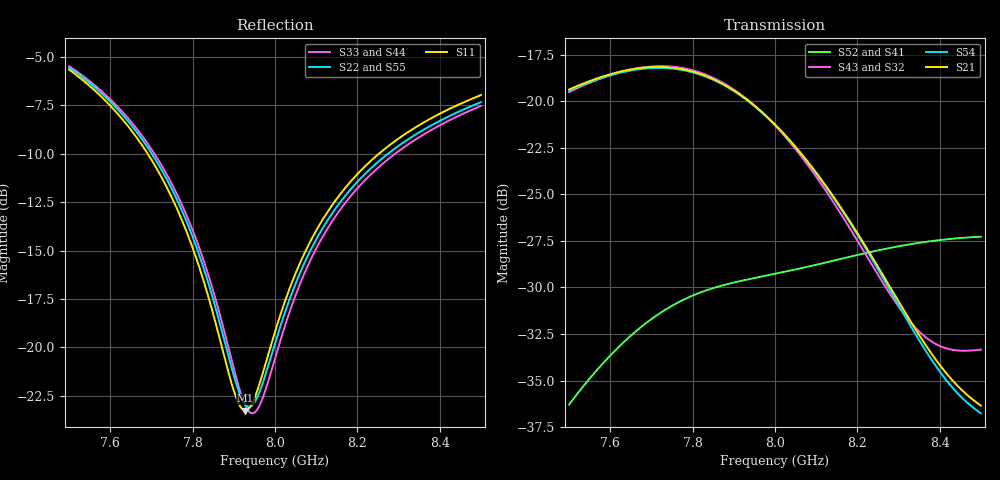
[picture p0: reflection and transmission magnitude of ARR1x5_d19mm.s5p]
! Touchstone file exported from HFSS 2025.1.0
!  File:  C:/Users/user/Documents/Ansoft/TFG_UWB-MIMO-Array.aedt
!  Generated:  06:37:37 PM Nov 20, 2026
!  Design:  ARR1x5_P01_MS2_dparam
!  Project:  TFG_UWB-MIMO-Array
!  Setup:  Setup_ch9
!  Solution:  Sweep_7p5_8p5
! Variables:
!  arr_d = 19mm
!  board_m = 13mm
!  board_x = 102mm
!  board_y = 26mm
!  cu_t = 0.035mm
!  line_w = 3.92mm
!  pad_xy = 22mm
!  pad_zn = 25mm
!  pad_zp = 33mm
!  patch_L = 7.322mm
!  patch_W = 11.421266mm
!  sub_h = 2.07mm
!  tr_l = 7.1mm
!  tr_w = 0.8mm
# GHz S MA R 50.000000
! Terminal data exported
! Port[1] = P1
! Port[2] = P2
! Port[3] = P3
! Port[4] = P4
! Port[5] = P5
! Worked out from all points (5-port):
!   1001 points, 7.5 GHz to 8.5 GHz, reference 50 ohm
!   strongest paths, dB at 7.5 GHz, 7.75 GHz, 8 GHz, 8.25 GHz, 8.5 GHz:
!     S21: -19.4, -18.2, -21.2, -28.9, -36.4
!     S54: -19.4, -18.2, -21.3, -29.0, -36.8
!     S43: -19.5, -18.1, -21.3, -29.3, -33.3
!     S32: -19.5, -18.2, -21.4, -29.6, -33.1
!     S52: -36.3, -31.0, -29.3, -28.0, -27.3
!     S41: -36.4, -31.1, -29.5, -28.3, -27.5
!   lowest |S11| = -23.3 dB at 7.928 GHz (marker M1), VSWR 1.15, Z = 56.9 + j2.37 ohm
!   |S11| at or under -10 dB: 7.691 GHz to 8.252 GHz (561.4 MHz wide, 7.04 % of centre)
